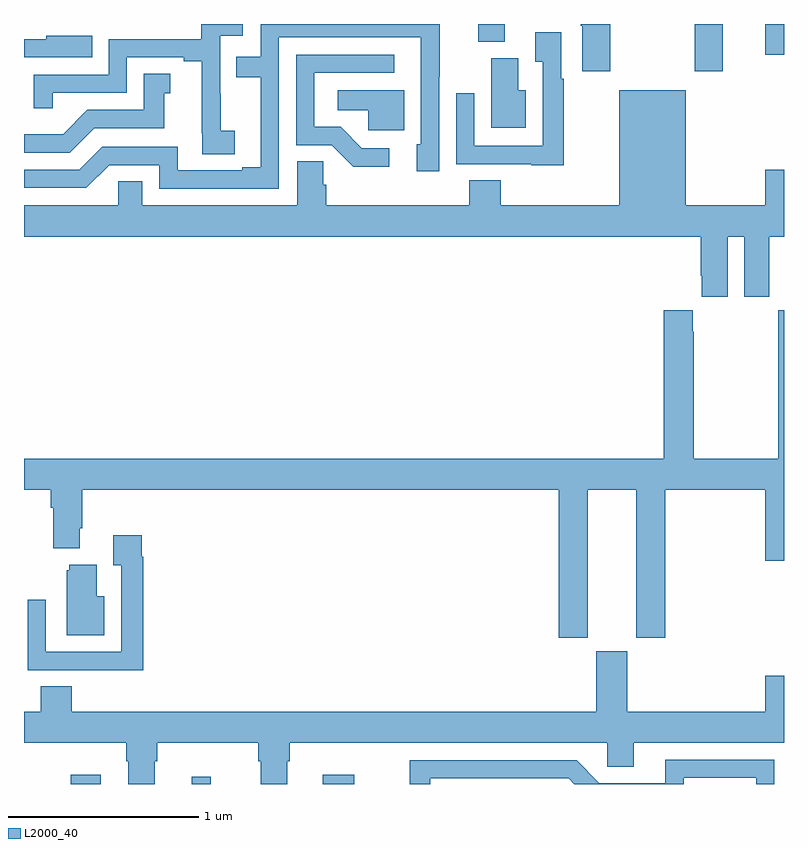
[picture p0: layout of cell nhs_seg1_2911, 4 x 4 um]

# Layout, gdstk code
import gdstk
lib = gdstk.Library(unit=1e-6, precision=1e-09)
def R(c, l, rs):  # rectangles x0, y0, x1, y1
    for r in rs: c.add(gdstk.rectangle(r[:2], r[2:], *l))
def P(c, l, *ps):  # polygons
    for p in ps: c.add(gdstk.Polygon(p, *l))
L2000_40 = (2000, 40)

nhs_seg1_2911 = lib.new_cell('nhs_seg1_2911')
R(nhs_seg1_2911, L2000_40, [(269.246,534.199,269.404,534.247), (269.882,534.199,269.984,534.238), (270.572,534.199,270.738,534.247), (272.53,537.951,272.677,538.199), (272.9,538.038,273,538.199), (271.391,538.105,271.531,538.199)])
P(nhs_seg1_2911, L2000_40, [(272.085,538.199),(271.93,538.199),(271.93,538.19),(271.937,538.19),(271.937,537.951),(272.085,537.951)],
  [(270.342,538.128),(271.089,538.128),(271.089,537.567),(271.067,537.567),(271.067,537.423),(271.185,537.423),(271.185,537.922),(271.187,537.922),(271.187,538.199),(270.246,538.199),(270.246,538.026),(270.118,538.026),(270.118,537.918),(270.245,537.918),(270.245,537.444),(270.149,537.444),(270.149,537.429),(269.808,537.429),(269.808,537.552),(269.412,537.552),(269.292,537.432),(269,537.432),(269,537.336),(269.328,537.336),(269.448,537.456),(269.712,537.456),(269.712,537.333),(270.342,537.333)],
  [(270.109,537.636),(270.035,537.636),(270.035,537.833),(270.033,537.833),(270.033,538.137),(270.151,538.137),(270.151,538.199),(269.932,538.199),(269.932,538.119),(269.445,538.119),(269.445,537.933),(269.05,537.933),(269.05,537.756),(269.151,537.756),(269.151,537.837),(269.541,537.837),(269.541,538.023),(269.84,538.023),(269.84,538.003),(269.936,538.003),(269.936,537.625),(269.938,537.625),(269.938,537.514),(270.109,537.514)],
  [(271.84,537.911),(271.827,537.911),(271.827,538.156),(271.691,538.156),(271.691,538),(271.731,538),(271.731,537.558),(271.371,537.558),(271.371,537.835),(271.275,537.835),(271.275,537.462),(271.671,537.462),(271.671,537.455),(271.84,537.455)],
  [(269.36,538.138),(269.117,538.138),(269.117,538.119),(269,538.119),(269,538.023),(269.36,538.023)],
  [(270.922,537.546),(270.777,537.546),(270.666,537.657),(270.528,537.657),(270.528,537.942),(270.949,537.942),(270.949,538.038),(270.432,538.038),(270.432,537.561),(270.621,537.561),(270.734,537.449),(270.922,537.449)],
  [(271.642,537.85),(271.6,537.85),(271.6,538.02),(271.46,538.02),(271.46,537.653),(271.642,537.653)],
  [(269.37,537.651),(269.737,537.651),(269.737,537.835),(269.77,537.835),(269.77,537.938),(269.63,537.938),(269.63,537.747),(269.334,537.747),(269.206,537.619),(269,537.619),(269,537.522),(269.241,537.522)],
  [(272.704,537.08),(272.792,537.08),(272.792,536.763),(272.923,536.763),(272.923,537.08),(273,537.08),(273,537.433),(272.9,537.433),(272.9,537.244),(272.482,537.244),(272.482,537.85),(272.132,537.85),(272.132,537.244),(271.508,537.244),(271.508,537.377),(271.343,537.377),(271.343,537.244),(270.59,537.244),(270.59,537.353),(270.576,537.353),(270.576,537.476),(270.437,537.476),(270.437,537.244),(269.623,537.244),(269.623,537.371),(269.496,537.371),(269.496,537.244),(269,537.244),(269,537.08),(272.561,537.08),(272.561,536.875),(272.567,536.875),(272.567,536.763),(272.704,536.763)],
  [(271,537.85),(270.651,537.85),(270.651,537.746),(270.813,537.746),(270.813,537.639),(271,537.639)],
  [(271.966,535.748),(272.222,535.748),(272.222,534.969),(272.375,534.969),(272.375,535.748),(272.9,535.748),(272.9,535.374),(273,535.374),(273,536.692),(272.971,536.692),(272.971,535.912),(272.526,535.912),(272.526,536.579),(272.521,536.579),(272.521,536.692),(272.366,536.692),(272.366,535.912),(269,535.912),(269,535.748),(269.141,535.748),(269.141,535.652),(269.153,535.652),(269.153,535.439),(269.293,535.439),(269.293,535.546),(269.306,535.546),(269.306,535.748),(271.814,535.748),(271.814,534.969),(271.966,534.969)],
  [(269.627,535.394),(269.62,535.394),(269.62,535.507),(269.471,535.507),(269.471,535.351),(269.511,535.351),(269.511,534.894),(269.115,534.894),(269.115,535.168),(269.019,535.168),(269.019,534.798),(269.335,534.798),(269.335,534.797),(269.627,534.797)],
  [(269.422,535.186),(269.383,535.186),(269.383,535.354),(269.237,535.354),(269.237,535.323),(269.225,535.323),(269.225,534.983),(269.422,534.983)],
  [(269.689,534.32),(269.702,534.32),(269.702,534.416),(270.233,534.416),(270.233,534.32),(270.245,534.32),(270.245,534.199),(270.385,534.199),(270.385,534.32),(270.398,534.32),(270.398,534.416),(272.07,534.416),(272.07,534.289),(272.209,534.289),(272.209,534.416),(273,534.416),(273,534.769),(272.9,534.769),(272.9,534.58),(272.176,534.58),(272.176,534.897),(272.012,534.897),(272.012,534.58),(269.252,534.58),(269.252,534.713),(269.087,534.713),(269.087,534.58),(269,534.58),(269,534.416),(269.537,534.416),(269.537,534.32),(269.549,534.32),(269.549,534.199),(269.689,534.199)],
  [(271.137,534.228),(271.866,534.228),(271.895,534.199),(272.472,534.199),(272.472,534.231),(272.853,534.231),(272.853,534.199),(272.949,534.199),(272.949,534.327),(272.375,534.327),(272.375,534.204),(272.028,534.204),(271.908,534.324),(271.029,534.324),(271.029,534.199),(271.137,534.199)])

lib.write_gds('nhs_seg1_2911.gds')
